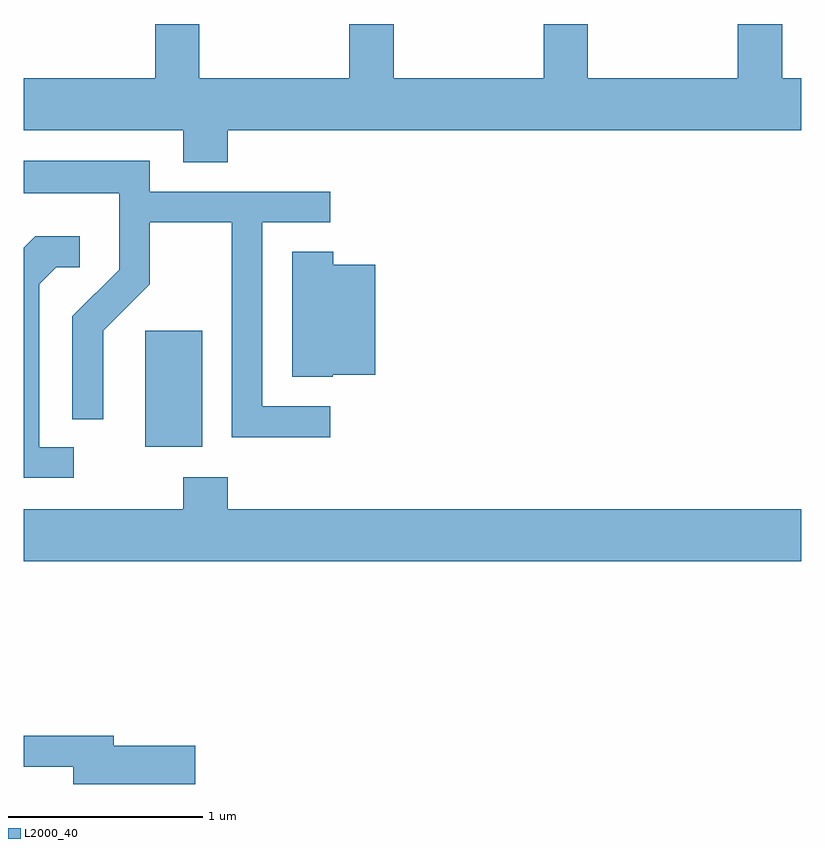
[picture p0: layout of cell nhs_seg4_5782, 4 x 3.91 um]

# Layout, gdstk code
import gdstk
lib = gdstk.Library(unit=1e-6, precision=1e-09)
def R(c, l, rs):  # rectangles x0, y0, x1, y1
    for r in rs: c.add(gdstk.rectangle(r[:2], r[2:], *l))
def P(c, l, *ps):  # polygons
    for p in ps: c.add(gdstk.Polygon(p, *l))
L2000_40 = (2000, 40)

nhs_seg4_5782 = lib.new_cell('nhs_seg4_5782')
R(nhs_seg4_5782, L2000_40, [(356.236,1259.806,356.529,1260.404)])
P(nhs_seg4_5782, L2000_40, [(356.659,1261.436),(359.611,1261.436),(359.611,1261.704),(359.514,1261.704),(359.514,1261.982),(359.286,1261.982),(359.286,1261.704),(358.514,1261.704),(358.514,1261.982),(358.286,1261.982),(358.286,1261.704),(357.514,1261.704),(357.514,1261.982),(357.286,1261.982),(357.286,1261.704),(356.514,1261.704),(356.514,1261.982),(356.286,1261.982),(356.286,1261.704),(355.611,1261.704),(355.611,1261.436),(356.431,1261.436),(356.431,1261.271),(356.659,1261.271)],
  [(357.188,1260.014),(356.839,1260.014),(356.839,1260.961),(357.188,1260.961),(357.188,1261.119),(356.259,1261.119),(356.259,1261.279),(355.611,1261.279),(355.611,1261.111),(356.101,1261.111),(356.101,1260.717),(355.861,1260.477),(355.861,1259.948),(356.019,1259.948),(356.019,1260.404),(356.259,1260.644),(356.259,1260.961),(356.681,1260.961),(356.681,1259.856),(357.188,1259.856)],
  [(355.868,1259.804),(355.689,1259.804),(355.689,1260.644),(355.777,1260.731),(355.898,1260.731),(355.898,1260.889),(355.669,1260.889),(355.611,1260.831),(355.611,1259.646),(355.868,1259.646)],
  [(357.2,1260.176),(357.419,1260.176),(357.419,1260.744),(357.204,1260.744),(357.204,1260.809),(356.991,1260.809),(356.991,1260.166),(357.2,1260.166)],
  [(359.611,1259.484),(356.659,1259.484),(356.659,1259.649),(356.431,1259.649),(356.431,1259.484),(355.611,1259.484),(355.611,1259.216),(359.611,1259.216)],
  [(356.494,1258.269),(356.074,1258.269),(356.074,1258.319),(355.611,1258.319),(355.611,1258.161),(355.866,1258.161),(355.866,1258.071),(356.494,1258.071)])

lib.write_gds('nhs_seg4_5782.gds')
